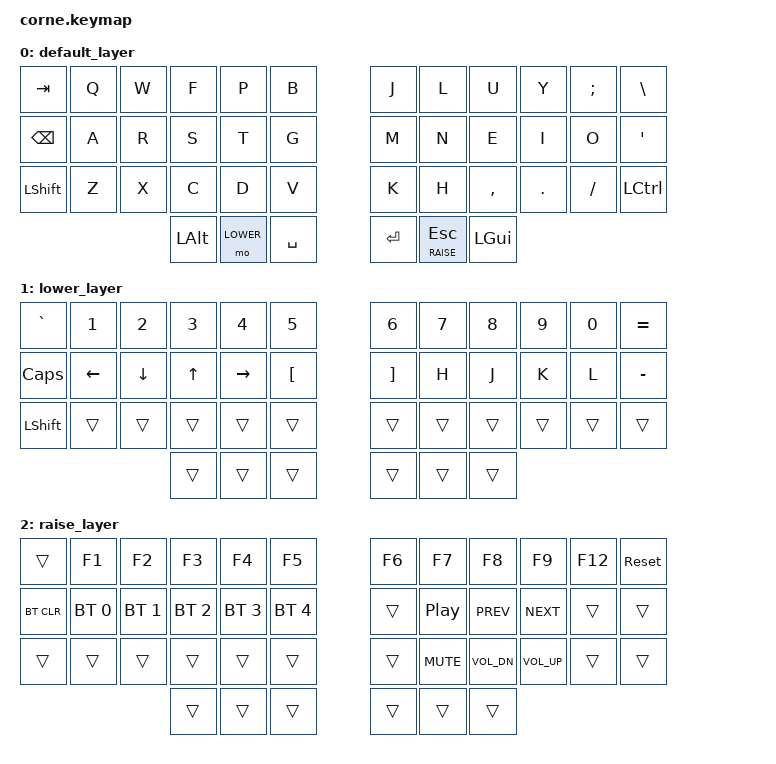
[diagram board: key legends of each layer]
#include <behaviors.dtsi>
#include <dt-bindings/zmk/keys.h>
#include <dt-bindings/zmk/bt.h>

#define LOWER 1
#define RAISE 2

/ {
        keymap {
                compatible = "zmk,keymap";

                default_layer {
// -----------------------------------------------------------------------------------------
// |  TAB |  Q  |  W  |  F  |  P  |  B  |   |  J      |  L  |  U  |  Y  |  ;  |  \   |
// | BSPC |  A  |  R  |  S  |  T  |  G  |   |  M      |  N  |  E  |  I  |  O  |  '   |
// | SHFT |  Z  |  X  |  C  |  D  |  V  |   |  K      |  H  |  ,  |  .  |  /  | CTRL |
//                    | ALT | SPC | LWR |   | RSE/ESC | ENT | CMD |
                        bindings = <
   &kp TAB   &kp Q &kp W &kp F &kp P &kp B   &kp J   &kp L  &kp U     &kp Y   &kp SEMI  &kp BSLH
   &kp BSPC  &kp A &kp R &kp S &kp T &kp G   &kp M   &kp N  &kp E     &kp I   &kp O     &kp SQT
   &kp LSHFT &kp Z &kp X &kp C &kp D &kp V   &kp K   &kp H  &kp COMMA &kp DOT &kp FSLH  &kp LCTRL
             &kp LALT &mo LOWER &kp SPACE    &kp RET &lt RAISE ESC &kp LGUI
                        >;
                };
                lower_layer {
// -----------------------------------------------------------------------------------------
// |  `   |  1  |  2  |  3  |  4  |  5  |   |  6  |  7  |  8  |  9  |  0  | = |
// | CAPS | LEFT| DOWN|  UP |RIGHT| [   |   | ]   | H   |  J  | K   |  L  | - |
// |      |     |     |     |     |     |   |     |     |     |     |     |   |
//                    |     |     |     |   |     |     |     |
                        bindings = <
   &kp GRAV   &kp N1    &kp N2    &kp N3  &kp N4     &kp N5      &kp N6   &kp N7   &kp N8 &kp N9  &kp N0  &kp EQUAL
   &kp CAPS   &kp LEFT  &kp DOWN  &kp UP  &kp RIGHT  &kp LBKT    &kp RBKT &kp H    &kp J  &kp K   &kp L   &kp MINUS
   &kp LSHFT  &trans    &trans    &trans  &trans     &trans      &trans   &trans   &trans &trans   &trans  &trans
                                  &trans  &trans     &trans      &trans  &trans    &trans
                        >;
                };

                raise_layer {
// -----------------------------------------------------------------------------------------
// |      | F1  | F2  |  F3 | F4  | F5  |   | F6  | F7   | F8      | F9    | F12 | RESET|
// | BTCLR| BT1 | BT2 | BT3 | BT4 | BT5 |   |     | Play | Prev    | Next  |     |      |
// |      |     |     |     |     |     |   |     | Mute | VolDown | VolUp |     |      |
//                    |     |     |     |   |     |      |         |
                        bindings = <
   &trans     &kp F1       &kp F2       &kp F3       &kp F4       &kp F5            &kp F6   &kp F7     &kp F8        &kp F9        &kp F12  &sys_reset
   &bt BT_CLR &bt BT_SEL 0 &bt BT_SEL 1 &bt BT_SEL 2 &bt BT_SEL 3 &bt BT_SEL 4      &trans   &kp C_PP   &kp C_PREV    &kp C_NEXT    &trans   &trans
   &trans     &trans       &trans       &trans       &trans       &trans            &trans   &kp C_MUTE &kp C_VOL_DN  &kp C_VOL_UP  &trans   &trans
                                        &trans       &trans       &trans            &trans   &trans    &trans
                        >;
                };
        };
};
